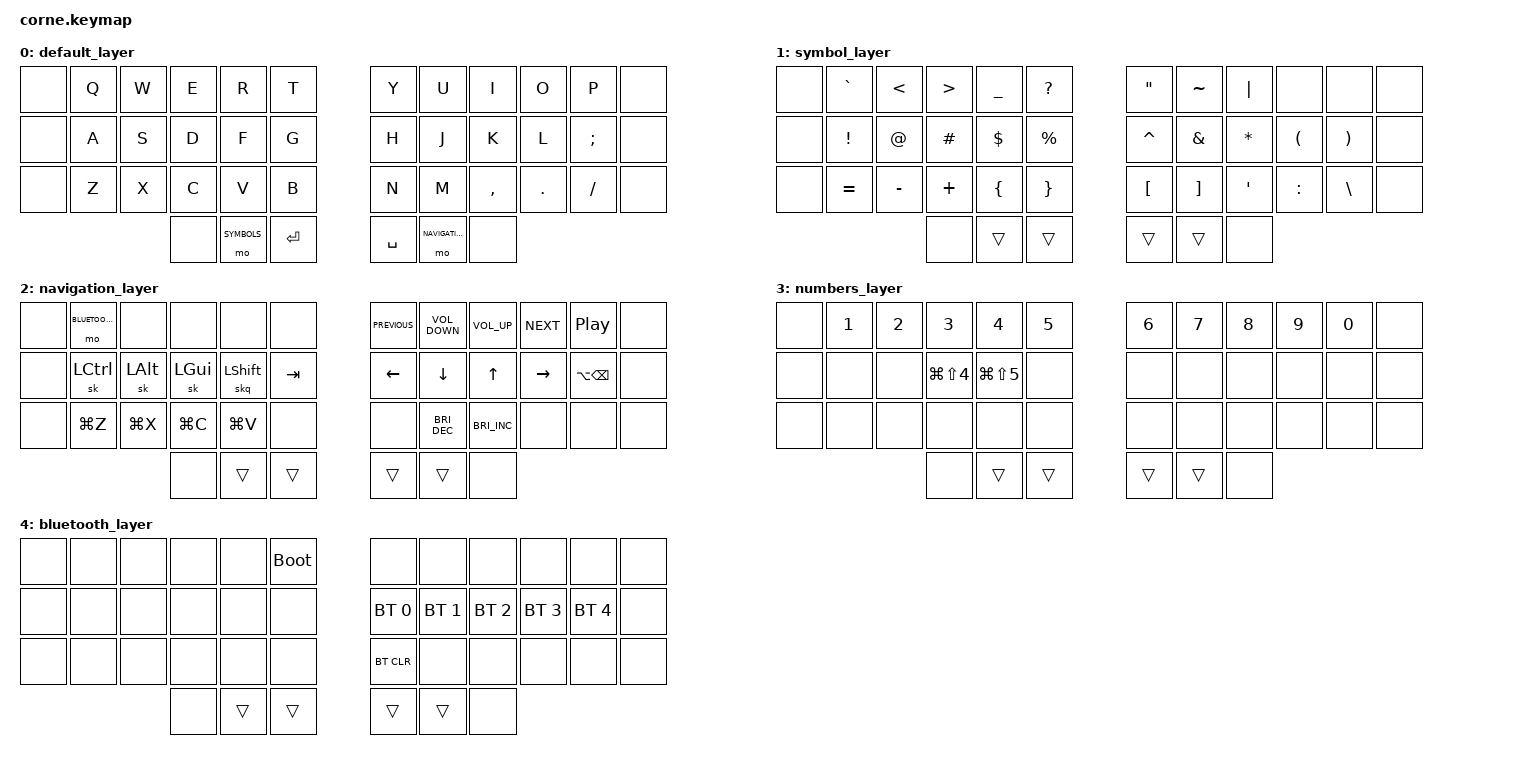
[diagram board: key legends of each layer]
 #include <behaviors.dtsi>
 #include <dt-bindings/zmk/keys.h>
 #include <dt-bindings/zmk/bt.h>

#define DEFAULT 0
#define SYMBOLS 1
#define NAVIGATION 2
#define NUMBERS 3
#define BLUETOOTH 4

#define COMBO(NAME, BINDINGS, KEYPOS, TIMEOUT) \
combo_##NAME { \
    timeout-ms = <TIMEOUT>; \
    bindings = <BINDINGS>; \
    key-positions = <KEYPOS>; \
    require-prior-idle-ms = <110>; \
};

/ {

    behaviors {
        isk: intuitive_sk {
            compatible = "zmk,behavior-hold-tap";
            #binding-cells = <2>;
            flavor = "balanced";
            tapping-term-ms = <200>;
            bindings = <&kp>, <&sk>;
        };
        skq: sticky_key_quick_release {
            compatible = "zmk,behavior-sticky-key";
            #binding-cells = <1>;
            bindings = <&kp>;
            release-after-ms = <1000>;
            quick-release;
        };
    };

    conditional_layers {
        compatible = "zmk,conditional-layers";
        tri_layer {
            if-layers = <SYMBOLS NAVIGATION>;
            then-layer = <NUMBERS>;
        };
    };

    combos {
        compatible = "zmk,combos";
        COMBO(sqt, &kp SQT, 2 3, 50)
        COMBO(esc, &kp ESC, 3 4, 50)
        COMBO(caps_word, &caps_word, 25 34, 50)
        COMBO(bspc, &kp BSPC, 7 8, 50)
    };

    keymap {
        compatible = "zmk,keymap";

        default_layer {
            bindings = <
                &none &kp Q &kp W &kp E &kp R  &kp T              &kp Y   &kp U &kp I     &kp O   &kp P        &none
                &none &kp A &kp S &kp D &kp F  &kp G              &kp H   &kp J &kp K     &kp L   &kp SEMI     &none
                &none &kp Z &kp X &kp C &kp V  &kp B              &kp N   &kp M &kp COMMA &kp DOT &kp SLASH    &none
                             &none &mo SYMBOLS &kp ENTER          &kp SPC &mo NAVIGATION &none
            >;
        };

        symbol_layer {
            bindings = <
               &none &kp GRAVE &kp LT    &kp GT   &kp UNDER   &kp QMARK         &kp DQT   &kp TILDE &kp PIPE    &none     &none      &none
               &none &kp EXCL  &kp AT    &kp HASH &kp DLLR &kp PRCNT            &kp CARET &kp AMPS &kp ASTERISK &kp LPAR  &kp RPAR   &none
               &none &kp EQUAL &kp MINUS &kp PLUS &kp LBRC &kp RBRC             &kp LBKT  &kp RBKT &kp SQT      &kp COLON &kp BSLH   &none
                                  &none   &trans  &trans            &trans       &trans       &none
            >;
        };

        navigation_layer {
            bindings = <
               &none &mo BLUETOOTH &none     &none     &none       &none           &kp C_PREVIOUS &kp C_VOLUME_DOWN    &kp C_VOLUME_UP      &kp C_NEXT &kp C_PLAY_PAUSE   &none
               &none &sk LCTRL     &sk LALT  &sk LGUI  &skq LSHIFT &kp TAB         &kp LEFT       &kp DOWN             &kp UP               &kp RIGHT  &kp LA(BSPC)       &none
               &none &kp LG(Z)     &kp LG(X) &kp LG(C) &kp LG(V)   &none           &none          &kp C_BRIGHTNESS_DEC &kp C_BRIGHTNESS_INC &none      &none              &none
                                  &none   &trans  &trans            &trans       &trans       &none
            >;
        };

        numbers_layer {
            bindings = <
               &none &kp N1 &kp N2 &kp N3         &kp N4         &kp N5       &kp N6  &kp N7  &kp N8  &kp N9  &kp N0  &none
               &none &none  &none  &kp LG(LS(N4)) &kp LG(LS(N5)) &none        &none   &none   &none   &none   &none   &none
               &none &none  &none  &none          &none          &none        &none   &none   &none   &none   &none   &none
                                  &none   &trans  &trans            &trans       &trans       &none

            >;
        };

        bluetooth_layer {
            bindings = <
               &none &none   &none   &none   &none   &bootloader       &none        &none        &none        &none        &none         &none
               &none &none   &none   &none   &none   &none             &bt BT_SEL 0 &bt BT_SEL 1 &bt BT_SEL 2 &bt BT_SEL 3 &bt BT_SEL 4  &none
               &none &none   &none   &none   &none   &none             &bt BT_CLR   &none        &none        &none        &none         &none
                                     &none   &trans  &trans            &trans       &trans       &none

            >;
        };

    };
};
